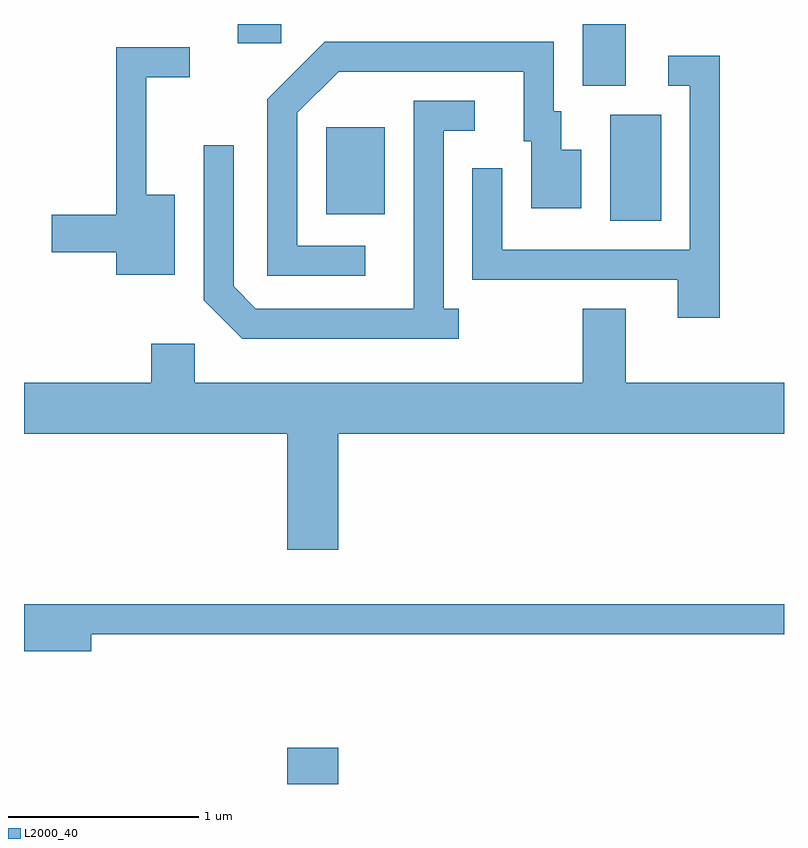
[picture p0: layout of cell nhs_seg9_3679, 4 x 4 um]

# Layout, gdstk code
import gdstk
lib = gdstk.Library(unit=1e-6, precision=1e-09)
def R(c, l, rs):  # rectangles x0, y0, x1, y1
    for r in rs: c.add(gdstk.rectangle(r[:2], r[2:], *l))
def P(c, l, *ps):  # polygons
    for p in ps: c.add(gdstk.Polygon(p, *l))
L2000_40 = (2000, 40)

nhs_seg9_3679 = lib.new_cell('nhs_seg9_3679')
R(nhs_seg9_3679, L2000_40, [(294.996,1974.432,295.264,1974.624), (296.696,1977.396,296.964,1977.954), (295.201,1977.431,295.509,1977.889), (296.551,1978.106,296.779,1978.432), (294.736,1978.331,294.964,1978.432)])
P(nhs_seg9_3679, L2000_40, [(295.408,1977.264),(295.049,1977.264),(295.049,1977.964),(295.267,1978.181),(296.241,1978.181),(296.241,1977.816),(296.281,1977.816),(296.281,1977.461),(296.544,1977.461),(296.544,1977.769),(296.439,1977.769),(296.439,1977.974),(296.399,1977.974),(296.399,1978.339),(295.194,1978.339),(294.891,1978.037),(294.891,1977.106),(295.408,1977.106)],
  [(294.404,1977.534),(294.254,1977.534),(294.254,1978.151),(294.483,1978.151),(294.483,1978.309),(294.096,1978.309),(294.096,1977.429),(293.756,1977.429),(293.756,1977.231),(294.096,1977.231),(294.096,1977.111),(294.404,1977.111)],
  [(297.274,1978.264),(297.003,1978.264),(297.003,1978.106),(297.116,1978.106),(297.116,1977.244),(296.129,1977.244),(296.129,1977.673),(295.971,1977.673),(295.971,1977.086),(297.051,1977.086),(297.051,1976.886),(297.274,1976.886)],
  [(295.898,1976.934),(295.819,1976.934),(295.819,1977.871),(295.983,1977.871),(295.983,1978.029),(295.661,1978.029),(295.661,1976.934),(294.832,1976.934),(294.714,1977.052),(294.714,1977.793),(294.556,1977.793),(294.556,1976.979),(294.759,1976.776),(295.898,1976.776)],
  [(295.264,1976.276),(297.611,1976.276),(297.611,1976.544),(296.779,1976.544),(296.779,1976.934),(296.551,1976.934),(296.551,1976.544),(294.509,1976.544),(294.509,1976.749),(294.281,1976.749),(294.281,1976.544),(293.611,1976.544),(293.611,1976.276),(294.996,1976.276),(294.996,1975.666),(295.264,1975.666)],
  [(293.964,1975.221),(297.611,1975.221),(297.611,1975.379),(293.611,1975.379),(293.611,1975.131),(293.964,1975.131)])

lib.write_gds('nhs_seg9_3679.gds')
